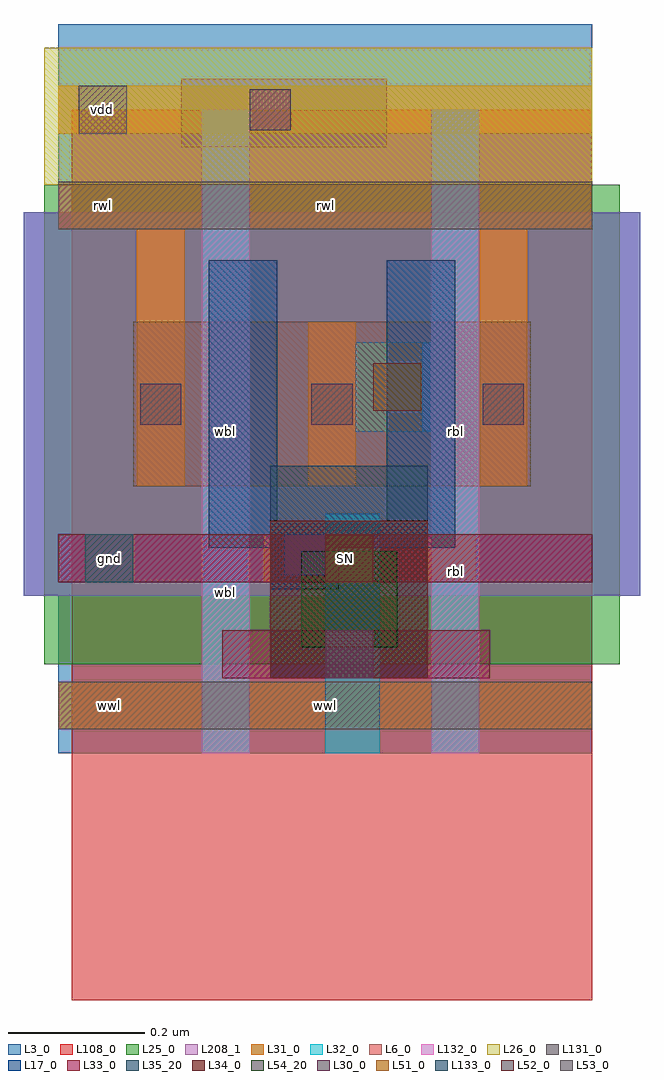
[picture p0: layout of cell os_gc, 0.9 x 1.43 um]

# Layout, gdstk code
import gdstk
lib = gdstk.Library(unit=1e-6, precision=1e-09)
def R(c, l, rs):  # rectangles x0, y0, x1, y1
    for r in rs: c.add(gdstk.rectangle(r[:2], r[2:], *l))
def A(c, l, x, y, w, h, nx, ny, dx, dy):  # array of equal rectangles
    R(c, l, [(x+i*dx, y+j*dy, x+i*dx+w, y+j*dy+h) for i in range(nx) for j in range(ny)])
L3_0 = (3, 0)
L6_0 = (6, 0)
L17_0 = (17, 0)
L25_0 = (25, 0)
L26_0 = (26, 0)
L30_0 = (30, 0)
L31_0 = (31, 0)
L32_0 = (32, 0)
L33_0 = (33, 0)
L34_0 = (34, 0)
L35_20 = (35, 20)
L51_0 = (51, 0)
L52_0 = (52, 0)
L53_0 = (53, 0)
L54_20 = (54, 20)
L108_0 = (108, 0)
L131_0 = (131, 0)
L132_0 = (132, 0)
L133_0 = (133, 0)
L208_1 = (208, 1)

pch_mac_cdns_76334618689 = lib.new_cell('pch_mac_CDNS_763346186890')
R(pch_mac_cdns_76334618689, L3_0, [(-0.27,-0.16,0.63,0.4)])
R(pch_mac_cdns_76334618689, L6_0, [(-0.11,0,0,0.24), (0,0,0.1,0.24), (0.1,0,0.36,0.24), (0.36,0,0.47,0.24)])
R(pch_mac_cdns_76334618689, L17_0, [(0,-0.09,0.1,0), (0.26,-0.09,0.36,0), (0,0,0.1,0.24), (0.26,0,0.36,0.24), (0,0.24,0.1,0.33), (0.26,0.24,0.36,0.33)])
R(pch_mac_cdns_76334618689, L25_0, [(-0.24,-0.2,0.6,0.44)])
A(pch_mac_cdns_76334618689, L30_0, -0.1, 0.09, 0.06, 0.06, 3, 1, 0.25, 0)
A(pch_mac_cdns_76334618689, L31_0, -0.105, 0, 0.07, 0.24, 3, 1, 0.25, 0)
R(pch_mac_cdns_76334618689, L208_1, [(-0.27,-0.16,0.63,0.4)])
pch_mac_cdns_76334618689.add(gdstk.Label('& Vendor     Taiwan Semiconductor manufacturing Corp.', (0,0), layer=63, texttype=63))
pch_mac_cdns_76334618689.add(gdstk.Label('& Product    tsmcN40_PDK', (0,0), layer=63, texttype=63))
pch_mac_cdns_76334618689.add(gdstk.Label('& PDK TechNode "CRN40LP"', (0,0), layer=63, texttype=63))
pch_mac_cdns_76334618689.add(gdstk.Label('& PDK Version "tsmcN40_DTQ85RWg\\177<9<l@p_20140131"', (0,0), layer=63, texttype=63))
pch_mac_cdns_76334618689.add(gdstk.Label('& Metric 1', (0,0), layer=63, texttype=63))
pch_mac_cdns_76334618689.add(gdstk.Label('& Distributor TSMC', (0,0), layer=63, texttype=63))
pch_mac_cdns_76334618689.add(gdstk.Label('& SerialNumber 000000', (0,0), layer=63, texttype=63))
pch_mac_cdns_76334618689.add(gdstk.Label('S', (-0.07,0.12), layer=127, texttype=0))
pch_mac_cdns_76334618689.add(gdstk.Label('S', (0.43,0.12), layer=127, texttype=0))
pch_mac_cdns_76334618689.add(gdstk.Label('D', (0.18,0.12), layer=127, texttype=0))
pch_mac_cdns_76334618689.add(gdstk.Label('pch_mac\n0.48/0.1\n', (0,0), layer=127, texttype=0))
pch_mac_cdns_76334618689.add(gdstk.Label('[@instanceName]', (0.05,0.12), layer=127, texttype=0))

m5_m4_cdns_767695447060 = lib.new_cell('M5_M4_CDNS_767695447060')
R(m5_m4_cdns_767695447060, L34_0, [(-0.115,-0.115,0.115,0.115)])
R(m5_m4_cdns_767695447060, L35_20, [(-0.115,-0.115,0.115,0.115)])
R(m5_m4_cdns_767695447060, L54_20, [(-0.07,-0.07,0.07,0.07)])

os_gc = lib.new_cell('os_gc')
R(os_gc, L3_0, [(-0.02,0.36,0.76,0.625), (-0.02,0.59,0.67,1.425), (0.67,0.59,0.76,1.425)])
R(os_gc, L6_0, [(0.16,1.245,0.46,1.345)])
R(os_gc, L17_0, [(0.29,0.6,0.39,0.7), (0.29,0.66,0.55,0.7)])
R(os_gc, L25_0, [(-0.04,0.49,0.8,0.55), (0,0.49,0.76,0.55), (0.65,0.55,0.76,1.07), (0.65,1.07,0.76,1.19)])
R(os_gc, L26_0, [(-0.04,1.19,0.69,1.39), (0.69,1.19,0.76,1.39)])
R(os_gc, L30_0, [(0.31,0.62,0.37,0.68), (0.26,1.27,0.32,1.33)])
R(os_gc, L31_0, [(-0.02,0.395,0.76,0.465), (-0.02,0.395,0.76,0.465), (0.02,0.395,0.09,0.465), (0.02,0.395,0.09,0.465), (0.28,0.61,0.59,0.68), (0.28,0.62,0.4,0.68), (0.415,0.83,0.51,0.84), (0.415,0.95,0.51,0.96), (-0.02,1.125,0.76,1.195), (-0.02,1.125,0.76,1.195), (0.01,1.125,0.08,1.195), (0.01,1.125,0.08,1.195), (-0.02,1.265,0.76,1.335), (0.01,1.265,0.08,1.335)])
R(os_gc, L32_0, [(0.19,0.36,0.26,1.3), (0.19,0.36,0.26,1.3), (0.37,0.36,0.45,0.71), (0.525,0.36,0.595,1.3), (0.525,0.36,0.595,1.3), (0.19,0.56,0.26,0.63), (0.19,0.56,0.26,0.63), (0.525,0.59,0.595,0.66), (0.525,0.59,0.595,0.66), (0.415,0.83,0.525,0.96)])
R(os_gc, L33_0, [(0.22,0.47,0.61,0.54), (-0.02,0.61,0.28,0.68), (0.02,0.61,0.09,0.68), (0.28,0.61,0.76,0.68)])
R(os_gc, L35_20, [(0.29,0.7,0.52,0.78)])
R(os_gc, L51_0, [(0.37,0.61,0.44,0.68), (0.44,0.86,0.51,0.93)])
R(os_gc, L52_0, [(0.37,0.47,0.44,0.54)])
R(os_gc, L53_0, [(0.37,0.47,0.44,0.54)])
R(os_gc, L108_0, [(0,0,0.76,1.3)])
R(os_gc, L131_0, [(-0.02,0.395,0.76,0.465), (0.02,0.395,0.09,0.465), (0.02,0.395,0.09,0.465), (0.02,0.395,0.09,0.465), (-0.02,1.125,0.76,1.195), (0.01,1.125,0.08,1.195), (0.01,1.125,0.08,1.195), (0.01,1.125,0.08,1.195), (0.01,1.265,0.08,1.335), (0.01,1.265,0.08,1.335)])
R(os_gc, L132_0, [(0.19,0.36,0.26,1.3), (0.525,0.36,0.595,1.3), (0.19,0.56,0.26,0.63), (0.19,0.56,0.26,0.63), (0.19,0.56,0.26,0.63), (0.525,0.59,0.595,0.66), (0.525,0.59,0.595,0.66), (0.525,0.59,0.595,0.66)])
R(os_gc, L133_0, [(0.02,0.61,0.09,0.68), (0.02,0.61,0.09,0.68)])
os_gc.add(gdstk.FlexPath([(0.63,0.87),(0.63,1.195)], 0.07, ends="flush", simple_path=True, layer=31, datatype=0))  # L31_0
os_gc.add(gdstk.FlexPath([(0.13,0.87),(0.13,1.195)], 0.07, ends="flush", simple_path=True, layer=31, datatype=0))  # L31_0
os_gc.add(gdstk.FlexPath([(0.37,0.9),(0.51,0.9)], 0.12, ends="flush", simple_path=True, layer=31, datatype=0))  # L31_0
os_gc.add(gdstk.FlexPath([(0.225,1.02),(0.225,1.3)], 0.07, ends="flush", simple_path=True, layer=32, datatype=0))  # L32_0
os_gc.add(gdstk.FlexPath([(0.56,1.02),(0.56,1.3)], 0.07, ends="flush", simple_path=True, layer=32, datatype=0))  # L32_0
os_gc.add(gdstk.Reference(pch_mac_cdns_76334618689, (0.2,0.75)))
os_gc.add(gdstk.Reference(m5_m4_cdns_767695447060, (0.405,0.585)))
os_gc.add(gdstk.Label('vdd', (0.045,1.3), layer=31, texttype=0))
os_gc.add(gdstk.Label('wwl', (0.055,0.43), layer=31, texttype=0))
os_gc.add(gdstk.Label('rwl', (0.045,1.16), layer=31, texttype=0))
os_gc.add(gdstk.Label('SN', (0.4,0.645), layer=31, texttype=0))
os_gc.add(gdstk.Label('gnd', (0.055,0.645), layer=33, texttype=0))
os_gc.add(gdstk.Label('vdd', (0.01,1.29), layer=131, texttype=0))
os_gc.add(gdstk.Label('rwl', (0.04,1.16), layer=131, texttype=0))
os_gc.add(gdstk.Label('wwl', (0.05,0.42), layer=131, texttype=0))
os_gc.add(gdstk.Label('wbl', (0.225,0.595), layer=32, texttype=0))
os_gc.add(gdstk.Label('rbl', (0.56,0.625), layer=32, texttype=0))
os_gc.add(gdstk.Label('wbl', (0.22,0.59), layer=132, texttype=0))
os_gc.add(gdstk.Label('rbl', (0.56,0.62), layer=132, texttype=0))
os_gc.add(gdstk.Label('gnd', (0.055,0.645), layer=133, texttype=0))
os_gc.add(gdstk.Label('rbl', (0.56,0.83), layer=32, texttype=0))
os_gc.add(gdstk.Label('rbl', (0.56,0.625), layer=32, texttype=0))
os_gc.add(gdstk.Label('wbl', (0.225,0.83), layer=32, texttype=0))
os_gc.add(gdstk.Label('wbl', (0.225,0.595), layer=32, texttype=0))
os_gc.add(gdstk.Label('rwl', (0.37,1.16), layer=31, texttype=0))
os_gc.add(gdstk.Label('rwl', (0.045,1.16), layer=31, texttype=0))
os_gc.add(gdstk.Label('wwl', (0.37,0.43), layer=31, texttype=0))
os_gc.add(gdstk.Label('wwl', (0.055,0.43), layer=31, texttype=0))

lib.write_gds('os_gc.gds')
